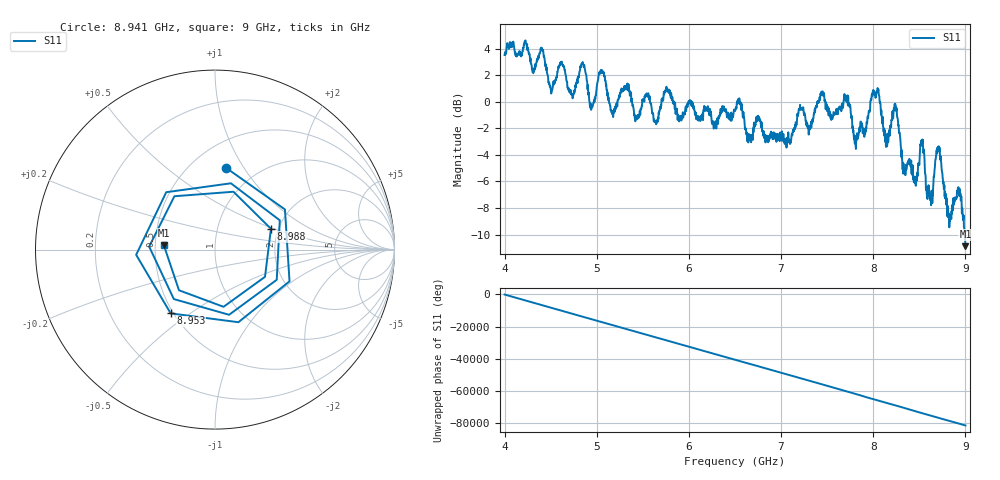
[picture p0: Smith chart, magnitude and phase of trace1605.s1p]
! Created with skrf 1.8.0 (http://scikit-rf.org).
# Hz S RI R 50.0
!freq ReS11 ImS11
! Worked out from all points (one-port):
!   1601 points, 4 GHz to 9 GHz, reference 50 ohm
!   lowest |S11| = -10.9 dB at 9 GHz (marker M1), VSWR 1.80, Z = 27.8 + j1.46 ohm
!   |S11| at or under -10 dB: 8.994899 GHz to end of sweep
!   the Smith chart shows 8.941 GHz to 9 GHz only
!   S11 on the Smith chart (normalised r, x): 8.941 GHz: 0.72, +0.84; 8.953 GHz: 0.48, -0.42; 8.988 GHz: 1.83, +0.48; 9 GHz: 0.56, +0.03
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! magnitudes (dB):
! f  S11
! 4 GHz  3.5
! 4.403 GHz  4.0
! 4.503 GHz  0.9
! 4.625 GHz  2.8
! 4.734 GHz  0.5
! 4.853 GHz  2.9
! 4.944 GHz  -0.5
! 5.047 GHz  2.4
! 5.169 GHz  -0.9
! 5.25 GHz  0.5
! 5.875 GHz  -0.9
! 6.5 GHz  -0.7
! 7.125 GHz  -2.3
! 7.441 GHz  0.6
! 7.75 GHz  -0.3
! 7.812 GHz  -3.6
! 8.012 GHz  0.6
! 8.144 GHz  -2.5
! 8.244 GHz  -0.3
! 8.375 GHz  -4.6
! 8.531 GHz  -2.9
! 8.628 GHz  -7.8
! 8.706 GHz  -3.4
! 8.825 GHz  -9.5
! 8.941 GHz  -6.7
! 8.953 GHz  -7.3
! 8.988 GHz  -9.6
! 9 GHz  -10.9
